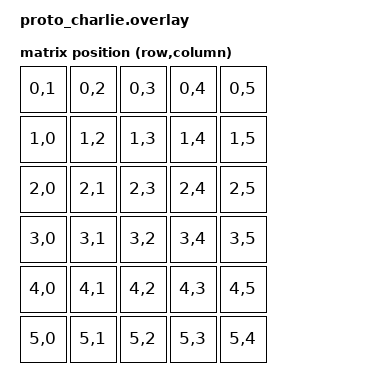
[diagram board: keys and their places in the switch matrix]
/*
 * Task C2: チャープレックスの「配線 → キー位置」対応を実測で確定させる治具。
 *
 * 本番（hhkb_split_left）と同じ 6 ピン D3..D8 を使う。違いは matrix-transform
 * だけで、こちらは 30 箇所**すべて**に別々の文字を割り当ててある。
 * スイッチを 1 つ配線して押せば、出てきた文字から RC(row,col) が一意に決まる。
 *
 * ZMK の実装から読み取った規則（app/module/drivers/kscan/kscan_gpio_charlieplex.c）:
 *   - gpios プロパティに書いた順が、そのまま添字 0,1,2,... になる
 *   - 走査は gpios[row] を OUTPUT HIGH で駆動し、gpios[col] を
 *     INPUT + PULL_DOWN（ACTIVE_HIGH のため）で読む
 *   - よって RC(row,col) は「gpios[row] から gpios[col] へ電流が流れる」キー
 *   - ダイオードはアノードが gpios[row] 側、カソード（帯）が gpios[col] 側
 *
 * この規則が正しいことを実機で確かめるのがこのシールドの目的。
 * 読み違えたまま基板を発注すると 42 キー全部が入れ替わる。
 */
#include <dt-bindings/zmk/matrix_transform.h>

/ {
	chosen {
		zmk,kscan = &kscan0;
		zmk,matrix-transform = &charlie_transform;
	};

	/*
	 * 添字と基板シルクの対応:
	 *   0=D3  1=D4  2=D5  3=D6  4=D7  5=D8
	 */
	kscan0: kscan_0 {
		compatible = "zmk,kscan-gpio-charlieplex";
		wakeup-source;
		gpios
			= <&xiao_d 3 GPIO_ACTIVE_HIGH>
			, <&xiao_d 4 GPIO_ACTIVE_HIGH>
			, <&xiao_d 5 GPIO_ACTIVE_HIGH>
			, <&xiao_d 6 GPIO_ACTIVE_HIGH>
			, <&xiao_d 7 GPIO_ACTIVE_HIGH>
			, <&xiao_d 8 GPIO_ACTIVE_HIGH>
			;
	};

	/*
	 * 30 箇所を row 昇順・col 昇順（row==col は不可なので飛ばす）で並べる。
	 * キーマップ側は同じ順に a..z 1..4 を並べてあるので、
	 *   出た文字 → この表の何番目 → RC(row,col)
	 * が一意に逆引きできる。
	 */
	charlie_transform: keymap_transform_0 {
		compatible = "zmk,matrix-transform";
		columns = <6>;
		rows = <6>;
		map = <
			RC(0,1) RC(0,2) RC(0,3) RC(0,4) RC(0,5)
			RC(1,0) RC(1,2) RC(1,3) RC(1,4) RC(1,5)
			RC(2,0) RC(2,1) RC(2,3) RC(2,4) RC(2,5)
			RC(3,0) RC(3,1) RC(3,2) RC(3,4) RC(3,5)
			RC(4,0) RC(4,1) RC(4,2) RC(4,3) RC(4,5)
			RC(5,0) RC(5,1) RC(5,2) RC(5,3) RC(5,4)
		>;
	};
};
